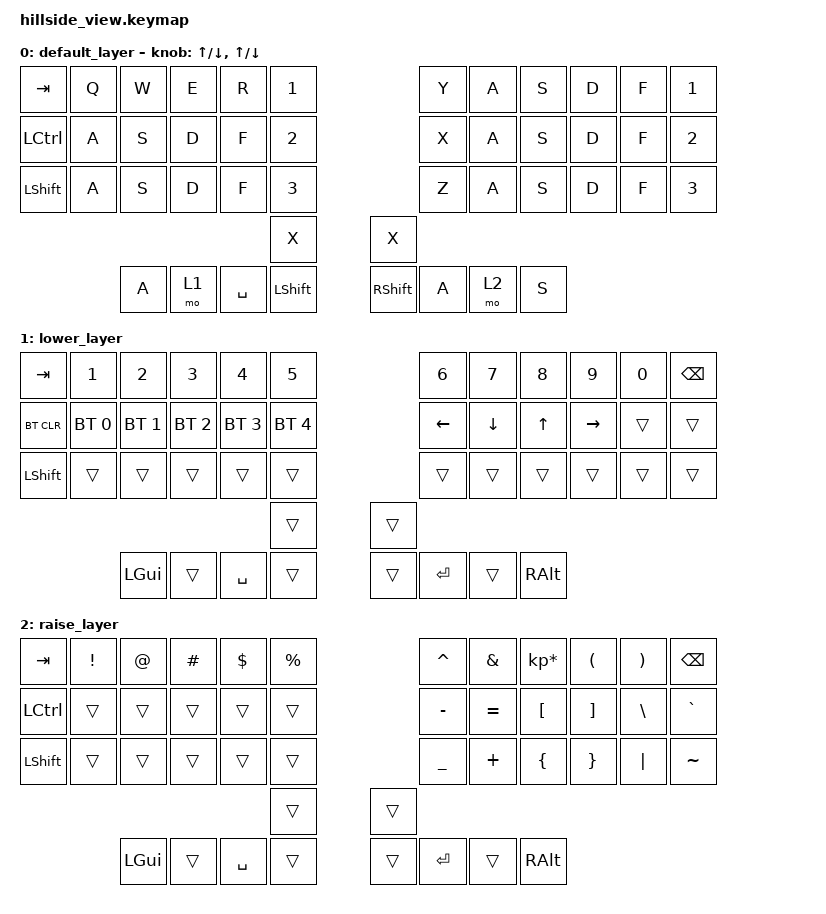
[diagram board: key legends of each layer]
/*
 * Copyright (c) 2022 The ZMK Contributors
 *
 * SPDX-License-Identifier: MIT
 */

#include <behaviors.dtsi>
#include <dt-bindings/zmk/keys.h>
#include <dt-bindings/zmk/bt.h>
#include <dt-bindings/zmk/rgb.h>
#include <dt-bindings/zmk/ext_power.h>
#include <dt-bindings/zmk/mouse.h>

/ {
        keymap {
                compatible = "zmk,keymap";

                default_layer {
                        // ----------------------------------------------------------------------------------------------------------
                        // |  TAB |  Q  |  W  |  E  |  R  |  T  |                             |  Y  |  U   |  I  |  O  |  P  | BKSP |
                        // | CTRL |  A  |  S  |  D  |  F  |  G  |                             |  H  |  J   |  K  |  L  |  ;  |  '   |
                        // | SHFT |  Z  |  X  |  C  |  V  |  B  |                             |  N  |  M   |  ,  |  .  |  /  | ESC  |
                        //                                      |  MUTE  |                 |  PP  |
                        //                          | GUI | LWR | SPC |  LSHFT  |    |  RSHFT  | ENT | RSE | ALT |
                        bindings = <
                        &kp TAB   &kp Q &kp W &kp E &kp R &kp 1                           &kp Y &kp A &kp S &kp D &kp F &kp 1
                        &kp LCTRL &kp A &kp S &kp D &kp F &kp 2                           &kp X &kp A &kp S &kp D &kp F &kp 2
                        &kp LSHFT &kp A &kp S &kp D &kp F &kp 3                           &kp Z &kp A &kp S &kp D &kp F &kp 3
                                                               &kp X           &kp X
                                      &kp A &mo 1 &kp SPACE &kp LSHIFT      &kp RSHIFT &kp A &mo 2 &kp S
                        >;
                        sensor-bindings = <&inc_dec_kp UP DOWN &inc_dec_kp UP DOWN>;
                };
                lower_layer {
                        // -----------------------------------------------------------------------------------------
                        // |  TAB |   1  |  2  |  3  |  4  |  5  |                             |  6  |  7  |  8  |  9  |  0  | BKSP |
                        // | BTCLR| BT1 | BT2 | BT3 | BT4 | BT5 |                             | LFT | DWN |  UP | RGT |     |      |
                        // | SHFT |     |     |     |     |     |                             |     |     |     |     |     |      |
                        //                                      |     |                 |     |
                        //                          | GUI |     | SPC |     |     |     | ENT |     | ALT |
                        bindings = <
                        &kp TAB    &kp N1       &kp N2       &kp N3       &kp N4       &kp N5                            &kp N6   &kp N7   &kp N8 &kp N9    &kp N0 &kp BSPC
                        &bt BT_CLR &bt BT_SEL 0 &bt BT_SEL 1 &bt BT_SEL 2 &bt BT_SEL 3 &bt BT_SEL 4                      &kp LEFT &kp DOWN &kp UP &kp RIGHT &trans &trans
                        &kp LSHFT  &trans       &trans       &trans       &trans       &trans                            &trans   &trans   &trans &trans    &trans &trans
                                                                                                        &trans      &trans
                                                                 &kp LGUI     &trans       &kp SPACE    &trans      &trans   &kp RET  &trans   &kp RALT
                        >;
                };

                raise_layer {
                        // -----------------------------------------------------------------------------------------
                        // |  TAB |  !  |  @  |  #  |  $  |  %  |                             |  ^  |  &  |  *  |  (  |  )  | BKSP |
                        // | CTRL |     |     |     |     |     |                             |  -  |  =  |  [  |  ]  |  \  |  `   |
                        // | SHFT |     |     |     |     |     |                             |  _  |  +  |  {  |  }  | "|" |  ~   |
                        //                                      |     |                 |     |
                        //                          | GUI |     | SPC |     |     |     | ENT |     | ALT |
                        bindings = <
                        &kp  TAB  &kp EXCL &kp AT &kp HASH &kp DLLR &kp PRCNT                 &kp CARET &kp AMPS  &kp KP_MULTIPLY &kp LPAR &kp RPAR &kp BSPC
                        &kp LCTRL &trans   &trans &trans   &trans   &trans                    &kp MINUS &kp EQUAL &kp LBKT        &kp RBKT &kp BSLH &kp GRAVE
                        &kp LSHFT &trans   &trans &trans   &trans   &trans                    &kp UNDER &kp PLUS  &kp LBRC        &kp RBRC &kp PIPE &kp TILDE
                                                                           &trans      &trans
                                                 &kp LGUI &trans &kp SPACE &trans      &trans &kp RET  &trans    &kp RALT
                        >;
                };
        };
};

